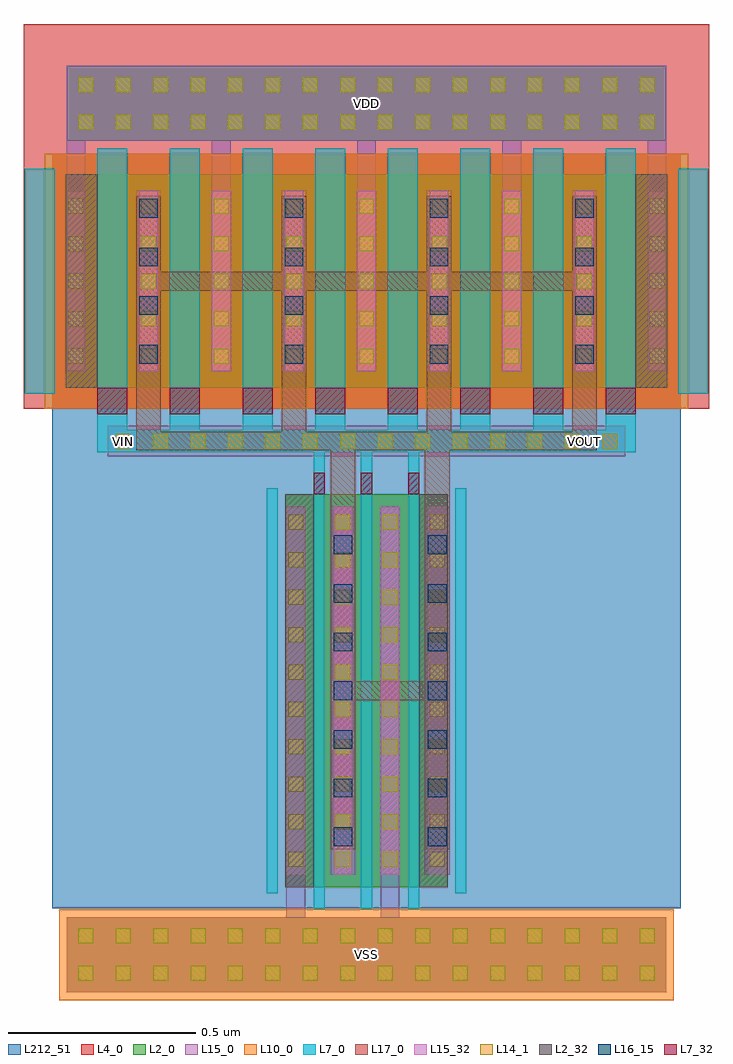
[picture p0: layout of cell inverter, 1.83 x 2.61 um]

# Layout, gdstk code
import gdstk
lib = gdstk.Library(unit=1e-6, precision=1e-09)
def R(c, l, rs):  # rectangles x0, y0, x1, y1
    for r in rs: c.add(gdstk.rectangle(r[:2], r[2:], *l))
def A(c, l, x, y, w, h, nx, ny, dx, dy):  # array of equal rectangles
    R(c, l, [(x+i*dx, y+j*dy, x+i*dx+w, y+j*dy+h) for i in range(nx) for j in range(ny)])
L2_0 = (2, 0)
L2_32 = (2, 32)
L4_0 = (4, 0)
L7_0 = (7, 0)
L7_32 = (7, 32)
L10_0 = (10, 0)
L14_1 = (14, 1)
L15_0 = (15, 0)
L15_32 = (15, 32)
L16_15 = (16, 15)
L17_0 = (17, 0)
L212_51 = (212, 51)

nmosininverter = lib.new_cell('nmosIninverter')
R(nmosininverter, L2_0, [(-0.217,-0.525,0.217,0.525)])
R(nmosininverter, L2_32, [(-0.217,-0.525,-0.141,0.525), (0.141,-0.525,0.217,0.525)])
A(nmosininverter, L7_0, -0.141, -0.582, 0.03, 1.164, 3, 1, 0.126, 0)
R(nmosininverter, L7_0, [(-0.267,-0.541,-0.237,0.541), (0.237,-0.541,0.267,0.541)])
A(nmosininverter, L7_32, -0.141, 0.525, 0.03, 0.057, 3, 1, 0.126, 0)
A(nmosininverter, L14_1, -0.209, -0.47, 0.04, 0.04, 4, 10, 0.126, 0.1)
A(nmosininverter, L15_0, -0.214, -0.491, 0.05, 0.982, 4, 1, 0.126, 0)
A(nmosininverter, L15_32, -0.214, -0.491, 0.05, 0.982, 4, 1, 0.126, 0)
R(nmosininverter, L212_51, [(-0.252,-0.581,0.252,0.581)])

pmosininverter = lib.new_cell('pmosIninverter')
R(pmosininverter, L2_0, [(-0.804,-0.285,0.804,0.285)])
R(pmosininverter, L2_32, [(-0.804,-0.285,-0.719,0.285), (0.719,-0.285,0.804,0.285)])
A(pmosininverter, L7_0, -0.719, -0.355, 0.08, 0.71, 8, 1, 0.194, 0)
R(pmosininverter, L7_0, [(-0.913,-0.301,-0.833,0.301), (0.833,-0.301,0.913,0.301)])
A(pmosininverter, L7_32, -0.719, -0.355, 0.08, 0.07, 8, 1, 0.194, 0)
R(pmosininverter, L10_0, [(-0.86,-0.341,0.86,0.341)])
A(pmosininverter, L14_1, -0.796, -0.22, 0.04, 0.04, 9, 5, 0.194, 0.1)
A(pmosininverter, L15_0, -0.801, -0.241, 0.05, 0.482, 9, 1, 0.194, 0)
A(pmosininverter, L15_32, -0.801, -0.241, 0.05, 0.482, 9, 1, 0.194, 0)
R(pmosininverter, L212_51, [(-0.839,-0.341,0.839,0.341)])

vdd_supplyininverter = lib.new_cell('vdd_supplyIninverter')
R(vdd_supplyininverter, L2_0, [(-0.8,-0.1,0.8,0.1)])
A(vdd_supplyininverter, L14_1, -0.77, -0.07, 0.04, 0.04, 16, 2, 0.1, 0.1)
R(vdd_supplyininverter, L15_0, [(-0.8,-0.1,0.8,0.1)])

vss_supplyininverter = lib.new_cell('vss_supplyIninverter')
R(vss_supplyininverter, L2_0, [(-0.8,-0.1,0.8,0.1)])
R(vss_supplyininverter, L10_0, [(-0.821,-0.121,0.821,0.121)])
A(vss_supplyininverter, L14_1, -0.77, -0.07, 0.04, 0.04, 16, 2, 0.1, 0.1)
R(vss_supplyininverter, L15_0, [(-0.8,-0.1,0.8,0.1)])

gate_contactsininverter = lib.new_cell('gate_contactsIninverter')
R(gate_contactsininverter, L7_0, [(-0.68,-0.03,0.68,0.03)])
A(gate_contactsininverter, L14_1, -0.67, -0.02, 0.04, 0.04, 14, 1, 0.1, 0)
R(gate_contactsininverter, L15_0, [(-0.691,-0.041,0.691,0.041)])

nmos_viasininverter = lib.new_cell('nmos_viasIninverter')
R(nmos_viasininverter, L15_0, [(-0.033,-0.423,0.033,0.423)])
A(nmos_viasininverter, L16_15, -0.025, -0.415, 0.05, 0.05, 1, 7, 0, 0.13)
R(nmos_viasininverter, L17_0, [(-0.033,-0.423,0.033,0.423)])

pmos_viasininverter = lib.new_cell('pmos_viasIninverter')
R(pmos_viasininverter, L15_0, [(-0.033,-0.228,0.033,0.228)])
A(pmos_viasininverter, L16_15, -0.025, -0.22, 0.05, 0.05, 1, 4, 0, 0.13)
R(pmos_viasininverter, L17_0, [(-0.033,-0.228,0.033,0.228)])

inverter = lib.new_cell('inverter')
R(inverter, L4_0, [(-0.916,1.289,0.916,2.317), (-0.916,1.985,0.916,2.073)])
R(inverter, L7_0, [(-0.719,1.173,0.719,1.233)])
R(inverter, L10_0, [(-0.166,-0.29,0.166,-0.048)])
A(inverter, L15_0, -0.615, 1.389, 0.066, 0.482, 4, 1, 0.388, 0)
R(inverter, L15_0, [(-0.096,0.045,-0.03,1.027), (0.156,0.045,0.222,1.027)])
R(inverter, L17_0, [(-0.615,1.178,0.615,1.228)])
R(inverter, L212_51, [(-0.839,-0.045,0.839,1.971)])
inverter.add(gdstk.FlexPath([(-0.189,0.536),(-0.189,-0.269)], 0.05, ends="flush", simple_path=True, layer=15, datatype=0))  # L15_0
inverter.add(gdstk.FlexPath([(0.063,0.536),(0.063,-0.269)], 0.05, ends="flush", simple_path=True, layer=15, datatype=0))  # L15_0
inverter.add(gdstk.FlexPath([(-0.776,1.63),(-0.776,2.205)], 0.05, ends="flush", simple_path=True, layer=15, datatype=0))  # L15_0
inverter.add(gdstk.FlexPath([(-0.388,1.63),(-0.388,2.205)], 0.05, ends="flush", simple_path=True, layer=15, datatype=0))  # L15_0
inverter.add(gdstk.FlexPath([(0,1.63),(0,2.205)], 0.05, ends="flush", simple_path=True, layer=15, datatype=0))  # L15_0
inverter.add(gdstk.FlexPath([(0.388,1.63),(0.388,2.205)], 0.05, ends="flush", simple_path=True, layer=15, datatype=0))  # L15_0
inverter.add(gdstk.FlexPath([(0.776,1.63),(0.776,2.205)], 0.05, ends="flush", simple_path=True, layer=15, datatype=0))  # L15_0
inverter.add(gdstk.FlexPath([(-0.582,1.63),(0.582,1.63)], 0.05, ends="flush", simple_path=True, layer=17, datatype=0))  # L17_0
inverter.add(gdstk.FlexPath([(-0.063,0.536),(0.189,0.536)], 0.05, ends="flush", simple_path=True, layer=17, datatype=0))  # L17_0
inverter.add(gdstk.FlexPath([(-0.679,1.63),(-0.679,1.203)], 0.08, ends="flush", simple_path=True, layer=7, datatype=0))  # L7_0
inverter.add(gdstk.FlexPath([(-0.485,1.63),(-0.485,1.203)], 0.08, ends="flush", simple_path=True, layer=7, datatype=0))  # L7_0
inverter.add(gdstk.FlexPath([(-0.291,1.63),(-0.291,1.203)], 0.08, ends="flush", simple_path=True, layer=7, datatype=0))  # L7_0
inverter.add(gdstk.FlexPath([(-0.097,1.63),(-0.097,1.203)], 0.08, ends="flush", simple_path=True, layer=7, datatype=0))  # L7_0
inverter.add(gdstk.FlexPath([(0.097,1.63),(0.097,1.203)], 0.08, ends="flush", simple_path=True, layer=7, datatype=0))  # L7_0
inverter.add(gdstk.FlexPath([(0.291,1.63),(0.291,1.203)], 0.08, ends="flush", simple_path=True, layer=7, datatype=0))  # L7_0
inverter.add(gdstk.FlexPath([(0.485,1.63),(0.485,1.203)], 0.08, ends="flush", simple_path=True, layer=7, datatype=0))  # L7_0
inverter.add(gdstk.FlexPath([(0.679,1.63),(0.679,1.203)], 0.08, ends="flush", simple_path=True, layer=7, datatype=0))  # L7_0
inverter.add(gdstk.FlexPath([(-0.126,0.536),(-0.126,1.203)], 0.03, ends="flush", simple_path=True, layer=7, datatype=0))  # L7_0
inverter.add(gdstk.FlexPath([(0,0.536),(0,1.203)], 0.03, ends="flush", simple_path=True, layer=7, datatype=0))  # L7_0
inverter.add(gdstk.FlexPath([(0.126,0.536),(0.126,1.203)], 0.03, ends="flush", simple_path=True, layer=7, datatype=0))  # L7_0
inverter.add(gdstk.FlexPath([(-0.582,1.63),(-0.582,1.203)], 0.066, ends="flush", simple_path=True, layer=17, datatype=0))  # L17_0
inverter.add(gdstk.FlexPath([(-0.194,1.63),(-0.194,1.203)], 0.066, ends="flush", simple_path=True, layer=17, datatype=0))  # L17_0
inverter.add(gdstk.FlexPath([(0.194,1.63),(0.194,1.203)], 0.066, ends="flush", simple_path=True, layer=17, datatype=0))  # L17_0
inverter.add(gdstk.FlexPath([(0.582,1.63),(0.582,1.203)], 0.066, ends="flush", simple_path=True, layer=17, datatype=0))  # L17_0
inverter.add(gdstk.FlexPath([(-0.063,0.536),(-0.063,1.203)], 0.066, ends="flush", simple_path=True, layer=17, datatype=0))  # L17_0
inverter.add(gdstk.FlexPath([(0.189,0.536),(0.189,1.203)], 0.066, ends="flush", simple_path=True, layer=17, datatype=0))  # L17_0
inverter.add(gdstk.Reference(nmosininverter, (0,0.536)))
inverter.add(gdstk.Reference(pmosininverter, (0,1.63)))
inverter.add(gdstk.Reference(vdd_supplyininverter, (0,2.105)))
inverter.add(gdstk.Reference(vss_supplyininverter, (0,-0.169)))
inverter.add(gdstk.Reference(gate_contactsininverter, (0,1.203)))
inverter.add(gdstk.Reference(nmos_viasininverter, (-0.063,0.536)))
inverter.add(gdstk.Reference(nmos_viasininverter, (0.189,0.536)))
inverter.add(gdstk.Reference(pmos_viasininverter, (-0.582,1.63)))
inverter.add(gdstk.Reference(pmos_viasininverter, (-0.194,1.63)))
inverter.add(gdstk.Reference(pmos_viasininverter, (0.194,1.63)))
inverter.add(gdstk.Reference(pmos_viasininverter, (0.582,1.63)))
inverter.add(gdstk.Label('VOUT', (0.582,1.203), layer=17, texttype=20))
inverter.add(gdstk.Label('VSS', (0,-0.169), layer=15, texttype=20))
inverter.add(gdstk.Label('VDD', (0,2.105), layer=15, texttype=20))
inverter.add(gdstk.Label('VIN', (-0.65,1.203), layer=15, texttype=20))

lib.write_gds('inverter.gds')
